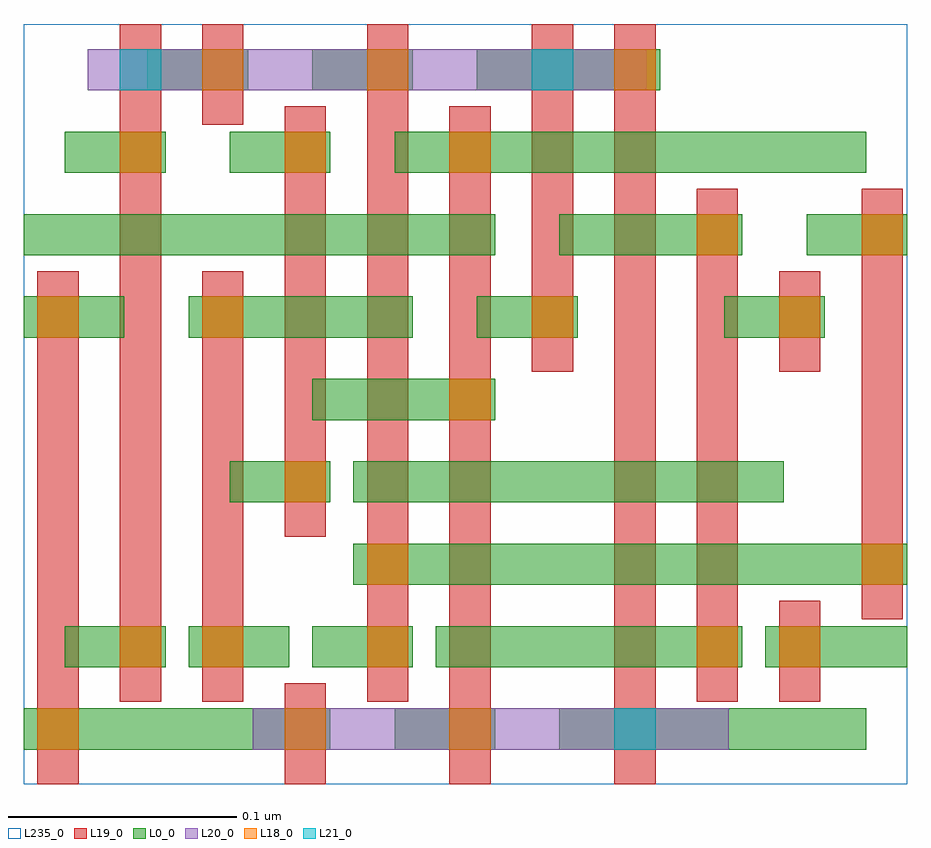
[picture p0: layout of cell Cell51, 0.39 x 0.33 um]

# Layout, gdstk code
import gdstk
lib = gdstk.Library(unit=1e-6, precision=2.5e-10)
def R(c, l, rs):  # rectangles x0, y0, x1, y1
    for r in rs: c.add(gdstk.rectangle(r[:2], r[2:], *l))
def A(c, l, x, y, w, h, nx, ny, dx, dy):  # array of equal rectangles
    R(c, l, [(x+i*dx, y+j*dy, x+i*dx+w, y+j*dy+h) for i in range(nx) for j in range(ny)])
L0_0 = (0, 0)
L18_0 = (18, 0)
L19_0 = (19, 0)
L20_0 = (20, 0)
L21_0 = (21, 0)
L235_0 = (235, 0)

cell51 = lib.new_cell('Cell51')
A(cell51, L0_0, 0.022, 0.035, 0.044, 0.018, 3, 1, 0.054, 0)
R(cell51, L0_0, [(0.004,-0.001,0.138,0.017), (0.166,-0.001,0.21,0.017), (0.238,-0.001,0.372,0.017), (0.184,0.035,0.318,0.053), (0.328,0.035,0.39,0.053), (0.148,0.071,0.39,0.089), (0.094,0.107,0.138,0.125), (0.148,0.107,0.336,0.125), (0.13,0.143,0.21,0.161), (0.004,0.179,0.048,0.197), (0.076,0.179,0.174,0.197), (0.202,0.179,0.246,0.197), (0.31,0.179,0.354,0.197), (0.004,0.215,0.21,0.233), (0.238,0.215,0.318,0.233), (0.346,0.215,0.39,0.233), (0.022,0.251,0.066,0.269), (0.094,0.251,0.138,0.269), (0.166,0.251,0.372,0.269), (0.058,0.287,0.102,0.305), (0.13,0.287,0.174,0.305), (0.202,0.287,0.282,0.305)])
A(cell51, L18_0, 0.046, 0.251, 0.018, 0.018, 3, 1, 0.072, 0)
R(cell51, L18_0, [(0.01,-0.001,0.028,0.017), (0.118,-0.001,0.136,0.017), (0.19,-0.001,0.208,0.017), (0.046,0.035,0.064,0.053), (0.082,0.035,0.1,0.053), (0.154,0.035,0.172,0.053), (0.298,0.035,0.316,0.053), (0.334,0.035,0.352,0.053), (0.154,0.071,0.172,0.089), (0.37,0.071,0.388,0.089), (0.118,0.107,0.136,0.125), (0.19,0.143,0.208,0.161), (0.01,0.179,0.028,0.197), (0.082,0.179,0.1,0.197), (0.226,0.179,0.244,0.197), (0.334,0.179,0.352,0.197), (0.298,0.215,0.316,0.233), (0.37,0.215,0.388,0.233), (0.082,0.287,0.1,0.305), (0.154,0.287,0.172,0.305), (0.262,0.287,0.28,0.305)])
R(cell51, L19_0, [(0.01,-0.016,0.028,0.208), (0.118,-0.016,0.136,0.028), (0.19,-0.016,0.208,0.28), (0.262,-0.016,0.28,0.316), (0.046,0.02,0.064,0.316), (0.082,0.02,0.1,0.208), (0.154,0.02,0.172,0.316), (0.298,0.02,0.316,0.244), (0.334,0.02,0.352,0.064), (0.37,0.056,0.388,0.244), (0.118,0.092,0.136,0.28), (0.226,0.164,0.244,0.316), (0.334,0.164,0.352,0.208), (0.082,0.272,0.1,0.316)])
R(cell51, L20_0, [(0.104,-0.001,0.312,0.017), (0.032,0.287,0.276,0.305)])
R(cell51, L21_0, [(0.262,-0.001,0.28,0.017), (0.046,0.287,0.064,0.305), (0.226,0.287,0.244,0.305)])
R(cell51, L235_0, [(0.004,-0.016,0.39,0.316)])

lib.write_gds('Cell51.gds')
